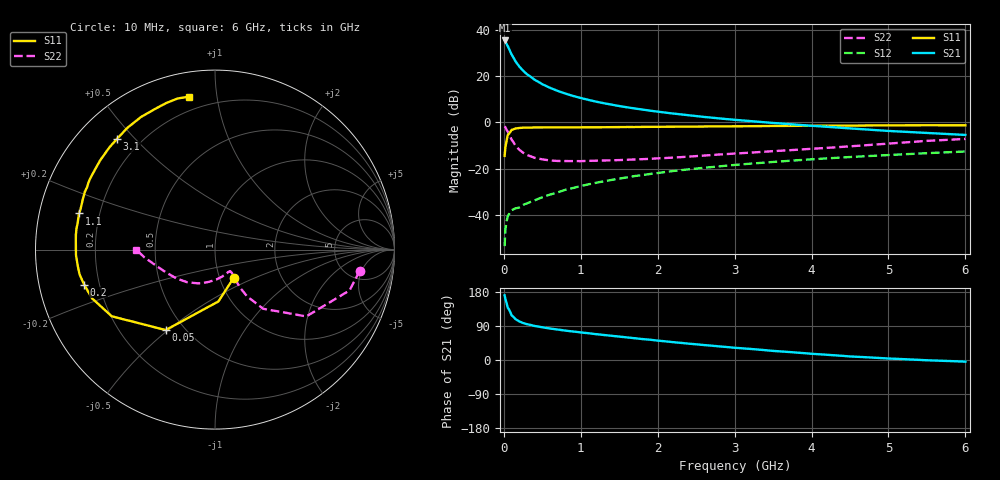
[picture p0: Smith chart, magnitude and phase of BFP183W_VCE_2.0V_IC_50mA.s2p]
! Infineon Technologies  Discrete & RF Semiconductors
! BFP183W
! VCE =  2.0 V,  IC =  50 mA
! Common Emitter S-Parameters:  Jan 2017
# GHz  S  MA  R  50
!  f  S11  S21  S12  S22
! GHz  MAG  ANG  MAG  ANG  MAG  ANG  MAG  ANG
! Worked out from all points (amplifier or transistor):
!   77 points, 10 MHz to 6 GHz, reference 50 ohm
!   highest |S21| = 35.4 dB at 10 MHz (marker M1)
!   |S21| within 3 dB of that: start of sweep to 58.88 MHz
!   unconditionally stable (mu >= 1): start of sweep to 12.29 MHz; 339.7 MHz to end of sweep
!   at 130 MHz: K = 0.57, MSG = 32.6 dB, |S12| = -37.5 dB
!   at 2.2 GHz: K = 1.24, MAG = 9.5 dB, |S12| = -21.1 dB
!   at 6 GHz: K = 1.03, MAG = 2.5 dB, |S12| = -12.6 dB
!   S11 on the Smith chart (normalised r, x): 10 MHz: 1.16, -0.38; 50 MHz: 0.40, -0.49; 200 MHz: 0.14, -0.13; 1.1 GHz: 0.12, +0.13; 3.1 GHz: 0.12, +0.45; 6 GHz: 0.12, +0.84
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0.01  0.1885 -56.6  59.04 170.8  0.0021 76.7  0.8155 -8.3
0.02  0.2894 -86.2  56.78 160.7  0.0048 72.0  0.7831 -16.9
0.05  0.5258 -121.5  44.84 138.3  0.0093 55.1  0.6305 -36.2
0.1  0.6851 -147.2  29.41 117.9  0.0125 45.4  0.4255 -50.8
0.15  0.737 -158.4  21.05 108.1  0.0138 42.7  0.3156 -55.6
0.2  0.7546 -165.0  16.19 101.9  0.0143 44.2  0.2569 -56.5
0.25  0.767 -169.6  13.11 97.6  0.0164 45.9  0.221 -56.3
0.3  0.7697 -172.9  11.01 94.6  0.0177 48.4  0.1972 -55.7
0.4  0.7751 -177.6  8.344 89.8  0.0206 53.3  0.171 -54.4
0.5  0.7752 178.9  6.684 86.2  0.024 57.2  0.1583 -54.1
0.6  0.7773 176.1  5.586 83.1  0.0274 59.3  0.1502 -54.6
0.7  0.7795 173.8  4.787 80.4  0.0306 63.3  0.1463 -55.0
0.9  0.7794 169.1  3.723 75.2  0.038 64.1  0.1451 -58.5
1.1  0.784 165.1  3.06 70.6  0.0456 67.0  0.147 -62.2
1.3  0.7843 161.3  2.591 66.0  0.053 66.8  0.1496 -66.9
1.5  0.79 157.9  2.253 61.8  0.0607 66.7  0.1528 -72.3
2.1  0.8027 147.1  1.627 49.2  0.0844 65.2  0.1694 -90.4
2.6  0.8134 139.0  1.312 39.5  0.104 63.0  0.1911 -106.1
3.1  0.8236 131.5  1.1 30.8  0.1237 59.6  0.2161 -120.2
4.1  0.8466 117.9  0.822 15.1  0.1625 52.6  0.274 -145.9
5.1  0.8618 107.4  0.639 3.1  0.2001 45.0  0.3569 -167.9
6  0.8645 99.5  0.534 -4.4  0.2343 37.6  0.4384 -179.9
